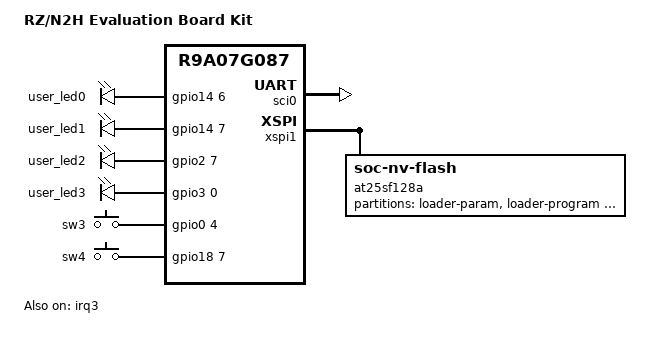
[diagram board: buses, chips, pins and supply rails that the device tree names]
/*
 * Copyright (c) 2026 Renesas Electronics Corporation
 * SPDX-License-Identifier: Apache-2.0
 */

/dts-v1/;
#include <arm/renesas/rz/rzn/r9a07g087.dtsi>
#include <zephyr/dt-bindings/input/input-event-codes.h>
#include "rzn2h_evb-pinctrl.dtsi"

/ {
	model = "RZ/N2H Evaluation Board Kit";
	compatible = "renesas,rzn2h-evb";

	chosen {
		zephyr,sram = &atcm;
		zephyr,flash = &at25sf128a;
		zephyr,code-partition = &slot0_partition;
		zephyr,console = &uart0;
		zephyr,shell-uart = &uart0;
	};

	aliases {
		led0 = &led8;
		sw0 = &sw3;
	};

	leds {
		compatible = "gpio-leds";

		led8: led8 {
			gpios = <&gpio14 6 GPIO_ACTIVE_HIGH>;
			label = "user_led0";
		};

		led9: led9 {
			gpios = <&gpio14 7 GPIO_ACTIVE_HIGH>;
			label = "user_led1";
		};

		led10: led10 {
			gpios = <&gpio2 7 GPIO_ACTIVE_HIGH>;
			label = "user_led2";
		};

		led11: led11 {
			gpios = <&gpio3 0 GPIO_ACTIVE_HIGH>;
			label = "user_led3";
		};
	};

	gpio_keys {
		compatible = "gpio-keys";

		sw3: sw3 {
			label = "sw3";
			gpios = <&gpio0 4 GPIO_ACTIVE_HIGH>;
			zephyr,code = <INPUT_KEY_0>;
		};

		sw4: sw4 {
			label = "sw4";
			gpios = <&gpio18 7 GPIO_ACTIVE_HIGH>;
			zephyr,code = <INPUT_KEY_1>;
		};
	};
};

&sci0 {
	pinctrl-0 = <&sci0_default>;
	pinctrl-names = "default";
	status = "okay";

	uart0: uart {
		current-speed = <115200>;
		status = "okay";
	};
};

&irq3 {
	trigger-type = "falling";
	pinctrl-0 = <&irq3_default>;
	pinctrl-names = "default";
	status = "okay";
};

&gpio0 {
	status = "okay";
	irqs = <&irq3 4>;
};

&gpio2 {
	status = "okay";
};

&gpio3 {
	status = "okay";
};

&gpio14 {
	status = "okay";
};

&gpio18 {
	status = "okay";
};

&xspi1 {
	pinctrl-0 = <&xspi1_default>;
	pinctrl-names = "default";

	at25sf128a: qspi-nor-flash@50000000 {
		compatible = "soc-nv-flash";
		reg = <0x50000000 DT_SIZE_M(16)>;
		write-block-size = <1>;
		erase-block-size = <4096>;
		#address-cells = <1>;
		#size-cells = <1>;
		ranges = <0x0 0x50000000 DT_SIZE_M(16)>;

		partitions {
			ranges;
			#address-cells = <1>;
			#size-cells = <1>;

			loader_param: partition@0 {
				compatible = "zephyr,mapped-partition";
				label = "loader-param";
				reg = <0x0 0x50>;
				read-only;
			};

			loader_program: partition@50 {
				compatible = "zephyr,mapped-partition";
				label = "loader-program";
				reg = <0x50 (DT_SIZE_K(52) - 0x50)>;
				read-only;
			};

			slot0_partition: partition@d000 {
				compatible = "zephyr,mapped-partition";
				label = "image-0";
				reg = <0xd000 (DT_SIZE_M(16) - DT_SIZE_K(52))>;
				read-only;
			};
		};
	};
};
